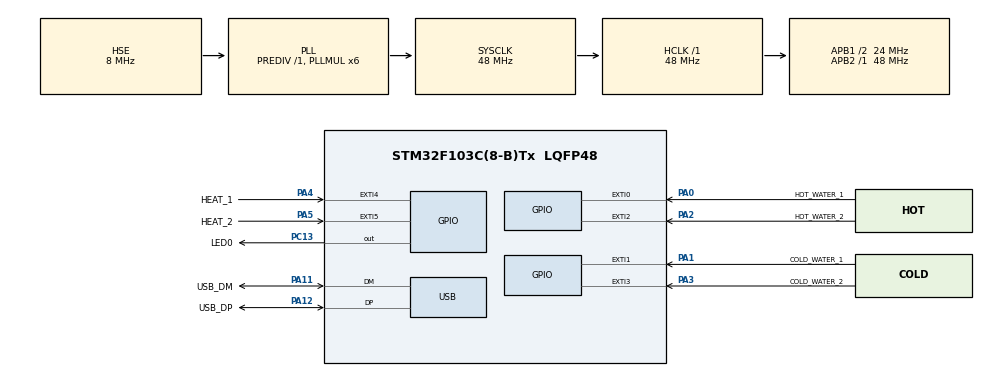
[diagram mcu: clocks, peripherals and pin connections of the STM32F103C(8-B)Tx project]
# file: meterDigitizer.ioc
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Mcu.Family=STM32F1
Mcu.Name=STM32F103C(8-B)Tx
Mcu.Package=LQFP48
NVIC.EXTI0_IRQn=true\:0\:0\:false\:false\:true
NVIC.EXTI1_IRQn=true\:0\:0\:false\:false\:true
NVIC.EXTI2_IRQn=true\:0\:0\:false\:false\:true
NVIC.EXTI3_IRQn=true\:0\:0\:false\:false\:true
NVIC.EXTI4_IRQn=true\:0\:0\:false\:false\:true
NVIC.EXTI9_5_IRQn=true\:0\:0\:false\:false\:true
NVIC.PriorityGroup=NVIC_PRIORITYGROUP_4
NVIC.USB_LP_CAN1_RX0_IRQn=true\:0\:0\:false\:false\:true
PA0-WKUP.GPIO_Label=HOT_WATER_1
PA0-WKUP.GPIO_ModeDefaultEXTI=GPIO_MODE_IT_FALLING
PA0-WKUP.GPIO_PuPd=GPIO_PULLUP
PA0-WKUP.Signal=GPXTI0
PA1.GPIO_Label=COLD_WATER_1
PA1.GPIO_ModeDefaultEXTI=GPIO_MODE_IT_FALLING
PA1.GPIO_PuPd=GPIO_PULLUP
PA1.Signal=GPXTI1
PA11.GPIO_Label=USB_DM
PA11.Mode=Device
PA11.Signal=USB_DM
PA12.GPIO_Label=USB_DP
PA12.Mode=Device
PA12.Signal=USB_DP
PA13.Mode=Trace_Asynchronous_SW
PA13.Signal=SYS_JTMS-SWDIO
PA14.Mode=Trace_Asynchronous_SW
PA14.Signal=SYS_JTCK-SWCLK
PA2.GPIO_Label=HOT_WATER_2
PA2.GPIO_ModeDefaultEXTI=GPIO_MODE_IT_FALLING
PA2.GPIO_PuPd=GPIO_PULLUP
PA2.Signal=GPXTI2
PA3.GPIO_Label=COLD_WATER_2
PA3.GPIO_ModeDefaultEXTI=GPIO_MODE_IT_FALLING
PA3.GPIO_PuPd=GPIO_PULLUP
PA3.Signal=GPXTI3
PA4.GPIO_Label=HEAT_1
PA4.GPIO_ModeDefaultEXTI=GPIO_MODE_IT_FALLING
PA4.GPIO_PuPd=GPIO_PULLUP
PA4.Signal=GPXTI4
PA5.GPIO_Label=HEAT_2
PA5.GPIO_ModeDefaultEXTI=GPIO_MODE_IT_FALLING
PA5.GPIO_PuPd=GPIO_PULLUP
PA5.Signal=GPXTI5
PB3.Mode=Trace_Asynchronous_SW
PB3.Signal=SYS_JTDO-TRACESWO
PC13-TAMPER-RTC.GPIO_Label=LED0
PC13-TAMPER-RTC.GPIO_ModeDefaultOutputPP=GPIO_MODE_OUTPUT_PP
PC13-TAMPER-RTC.GPIO_Speed=GPIO_SPEED_FREQ_LOW
PC13-TAMPER-RTC.PinState=GPIO_PIN_RESET
PC13-TAMPER-RTC.Signal=GPIO_Output
PC14-OSC32_IN.Mode=LSE-External-Oscillator
PC14-OSC32_IN.Signal=RCC_OSC32_IN
PC15-OSC32_OUT.Mode=LSE-External-Oscillator
PC15-OSC32_OUT.Signal=RCC_OSC32_OUT
PD0-OSC_IN.Mode=HSE-External-Oscillator
PD0-OSC_IN.Signal=RCC_OSC_IN
PD1-OSC_OUT.Mode=HSE-External-Oscillator
PD1-OSC_OUT.Signal=RCC_OSC_OUT
ProjectManager.HeapSize=0x200
ProjectManager.StackSize=0x400
ProjectManager.TargetToolchain=Makefile
RCC.AHBFreq_Value=48000000
RCC.APB1CLKDivider=RCC_HCLK_DIV2
RCC.APB1Freq_Value=24000000
RCC.APB1TimFreq_Value=48000000
RCC.APB2Freq_Value=48000000
RCC.APB2TimFreq_Value=48000000
RCC.HCLKFreq_Value=48000000
RCC.PLLMUL=RCC_PLL_MUL6
RCC.PLLSourceVirtual=RCC_PLLSOURCE_HSE
RCC.RTCClockSelection=RCC_RTCCLKSOURCE_LSE
RCC.SYSCLKFreq_VALUE=48000000
RCC.SYSCLKSource=RCC_SYSCLKSOURCE_PLLCLK
RCC.USBFreq_Value=48000000
RTC.Format=RTC_FORMAT_BIN
USB_DEVICE.CLASS_NAME_FS=CDC
USB_DEVICE.VirtualMode=Cdc
USB_DEVICE.VirtualModeFS=Cdc_FS
VP_RTC_VS_RTC_Activate.Mode=RTC_Enabled
VP_USB_DEVICE_VS_USB_DEVICE_CDC_FS.Mode=CDC_FS
board=meterDigitizer

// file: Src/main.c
/**
  ******************************************************************************
  * File Name          : main.c
  * Description        : Main program body
  ******************************************************************************
  * This notice applies to any and all portions of this file
  * that are not between comment pairs USER CODE BEGIN and
  * USER CODE END. Other portions of this file, whether
  * inserted by the user or by software development tools
  * are owned by their respective copyright owners.
  *
  * Copyright (c) 2017 STMicroelectronics International N.V.
  * All rights reserved.
  *
  * Redistribution and use in source and binary forms, with or without
  * modification, are permitted, provided that the following conditions are met:
  *
  * 1. Redistribution of source code must retain the above copyright notice,
  *    this list of conditions and the following disclaimer.
  * 2. Redistributions in binary form must reproduce the above copyright notice,
  *    this list of conditions and the following disclaimer in the documentation
  *    and/or other materials provided with the distribution.
  * 3. Neither the name of STMicroelectronics nor the names of other
  *    contributors to this software may be used to endorse or promote products
  *    derived from this software without specific written permission.
  * 4. This software, including modifications and/or derivative works of this
  *    software, must execute solely and exclusively on microcontroller or
  *    microprocessor devices manufactured by or for STMicroelectronics.
  * 5. Redistribution and use of this software other than as permitted under
  *    this license is void and will automatically terminate your rights under
  *    this license.
  *
  * THIS SOFTWARE IS PROVIDED BY STMICROELECTRONICS AND CONTRIBUTORS "AS IS"
  * AND ANY EXPRESS, IMPLIED OR STATUTORY WARRANTIES, INCLUDING, BUT NOT
  * LIMITED TO, THE IMPLIED WARRANTIES OF MERCHANTABILITY, FITNESS FOR A
  * PARTICULAR PURPOSE AND NON-INFRINGEMENT OF THIRD PARTY INTELLECTUAL PROPERTY
  * RIGHTS ARE DISCLAIMED TO THE FULLEST EXTENT PERMITTED BY LAW. IN NO EVENT
  * SHALL STMICROELECTRONICS OR CONTRIBUTORS BE LIABLE FOR ANY DIRECT, INDIRECT,
  * INCIDENTAL, SPECIAL, EXEMPLARY, OR CONSEQUENTIAL DAMAGES (INCLUDING, BUT NOT
  * LIMITED TO, PROCUREMENT OF SUBSTITUTE GOODS OR SERVICES; LOSS OF USE, DATA,
  * OR PROFITS; OR BUSINESS INTERRUPTION) HOWEVER CAUSED AND ON ANY THEORY OF
  * LIABILITY, WHETHER IN CONTRACT, STRICT LIABILITY, OR TORT (INCLUDING
  * NEGLIGENCE OR OTHERWISE) ARISING IN ANY WAY OUT OF THE USE OF THIS SOFTWARE,
  * EVEN IF ADVISED OF THE POSSIBILITY OF SUCH DAMAGE.
  *
  ******************************************************************************
  */
#include "main.h"
#include "stm32f1xx_hal.h"
#include "rtc.h"
#include "usb_device.h"
#include "gpio.h"

/* USER CODE BEGIN Includes */
#include "hal_rtc_unix.h"
#include "meter_device.h"
#include "uart_commands.h"

/* USER CODE END Includes */

/* USER CODE BEGIN PV */
/* Private variables ---------------------------------------------------------*/

/* USER CODE END PV */

void SystemClock_Config(void);

/* USER CODE BEGIN PFP */
/* Private function prototypes -----------------------------------------------*/

/* USER CODE END PFP */

int main(void)
{

  /* MCU Configuration----------------------------------------------------------*/

  /* Reset of all peripherals, Initializes the Flash interface and the Systick. */
  HAL_Init();

  /* Configure the system clock */
  SystemClock_Config();

  /* Initialize all configured peripherals */
  MX_GPIO_Init();
  MX_USB_DEVICE_Init();
  MX_RTC_Init();

  /* USER CODE BEGIN 2 */
  MeterDevicesLoadValues();

  /* USER CODE END 2 */

  /* Infinite loop */
  /* USER CODE BEGIN WHILE */
  while (1)
  {
      MeterDevicesProcess();
      UARTCommandsProcess();
  /* USER CODE END WHILE */

  /* USER CODE BEGIN 3 */
      HAL_SuspendTick();
      HAL_PWR_EnterSLEEPMode(0, PWR_SLEEPENTRY_WFI);
      HAL_ResumeTick();
  }
  /* USER CODE END 3 */

}

/** System Clock Configuration
*/
void SystemClock_Config(void)
{

  RCC_OscInitTypeDef RCC_OscInitStruct;
  RCC_ClkInitTypeDef RCC_ClkInitStruct;
  RCC_PeriphCLKInitTypeDef PeriphClkInit;

    /**Initializes the CPU, AHB and APB busses clocks
    */
  RCC_OscInitStruct.OscillatorType = RCC_OSCILLATORTYPE_HSE|RCC_OSCILLATORTYPE_LSE;
  RCC_OscInitStruct.HSEState = RCC_HSE_ON;
  RCC_OscInitStruct.HSEPredivValue = RCC_HSE_PREDIV_DIV1;
  RCC_OscInitStruct.LSEState = RCC_LSE_ON;
  RCC_OscInitStruct.HSIState = RCC_HSI_ON;
  RCC_OscInitStruct.PLL.PLLState = RCC_PLL_ON;
  RCC_OscInitStruct.PLL.PLLSource = RCC_PLLSOURCE_HSE;
  RCC_OscInitStruct.PLL.PLLMUL = RCC_PLL_MUL6;
  if (HAL_RCC_OscConfig(&RCC_OscInitStruct) != HAL_OK)
  {
    _Error_Handler(__FILE__, __LINE__);
  }

    /**Initializes the CPU, AHB and APB busses clocks
    */
  RCC_ClkInitStruct.ClockType = RCC_CLOCKTYPE_HCLK|RCC_CLOCKTYPE_SYSCLK
                              |RCC_CLOCKTYPE_PCLK1|RCC_CLOCKTYPE_PCLK2;
  RCC_ClkInitStruct.SYSCLKSource = RCC_SYSCLKSOURCE_PLLCLK;
  RCC_ClkInitStruct.AHBCLKDivider = RCC_SYSCLK_DIV1;
  RCC_ClkInitStruct.APB1CLKDivider = RCC_HCLK_DIV2;
  RCC_ClkInitStruct.APB2CLKDivider = RCC_HCLK_DIV1;

  if (HAL_RCC_ClockConfig(&RCC_ClkInitStruct, FLASH_LATENCY_1) != HAL_OK)
  {
    _Error_Handler(__FILE__, __LINE__);
  }

  PeriphClkInit.PeriphClockSelection = RCC_PERIPHCLK_RTC|RCC_PERIPHCLK_USB;
  PeriphClkInit.RTCClockSelection = RCC_RTCCLKSOURCE_LSE;
  PeriphClkInit.UsbClockSelection = RCC_USBCLKSOURCE_PLL;
  if (HAL_RCCEx_PeriphCLKConfig(&PeriphClkInit) != HAL_OK)
  {
    _Error_Handler(__FILE__, __LINE__);
  }

    /**Configure the Systick interrupt time
    */
  HAL_SYSTICK_Config(HAL_RCC_GetHCLKFreq()/1000);

    /**Configure the Systick
    */
  HAL_SYSTICK_CLKSourceConfig(SYSTICK_CLKSOURCE_HCLK);

  /* SysTick_IRQn interrupt configuration */
  HAL_NVIC_SetPriority(SysTick_IRQn, 0, 0);
}

/* USER CODE BEGIN 4 */

void HAL_GPIO_EXTI_Callback(uint16_t GPIO_Pin)
{
    MeterDeviceInterrupt(GPIO_Pin);
}

/* USER CODE END 4 */

void _Error_Handler(char * file, int line)
{
  /* USER CODE BEGIN Error_Handler_Debug */
#define FAULT_DELAY(x) for(int i=0; i<x*500000; ++i) __NOP()
  /* User can add his own implementation to report the HAL error return state */
    HAL_GPIO_WritePin(LED0_GPIO_Port, LED0_Pin, GPIO_PIN_SET);
    while(1)
    {

        FAULT_DELAY(6);
        for(int i=0; i<3; ++i) {
            HAL_GPIO_WritePin(LED0_GPIO_Port, LED0_Pin, GPIO_PIN_RESET);
            FAULT_DELAY(1);
            HAL_GPIO_WritePin(LED0_GPIO_Port, LED0_Pin, GPIO_PIN_SET);
            FAULT_DELAY(1);
        }
        FAULT_DELAY(2);
        for(int i=0; i<3; ++i) {
            HAL_GPIO_WritePin(LED0_GPIO_Port, LED0_Pin, GPIO_PIN_RESET);
            FAULT_DELAY(3);
            HAL_GPIO_WritePin(LED0_GPIO_Port, LED0_Pin, GPIO_PIN_SET);
            FAULT_DELAY(1);
        }
        FAULT_DELAY(2);
        for(int i=0; i<3; ++i) {
            HAL_GPIO_WritePin(LED0_GPIO_Port, LED0_Pin, GPIO_PIN_RESET);
            FAULT_DELAY(1);
            HAL_GPIO_WritePin(LED0_GPIO_Port, LED0_Pin, GPIO_PIN_SET);
            FAULT_DELAY(1);
        }
    }
  /* USER CODE END Error_Handler_Debug */
}

/************************ (C) COPYRIGHT STMicroelectronics *****END OF FILE****/
